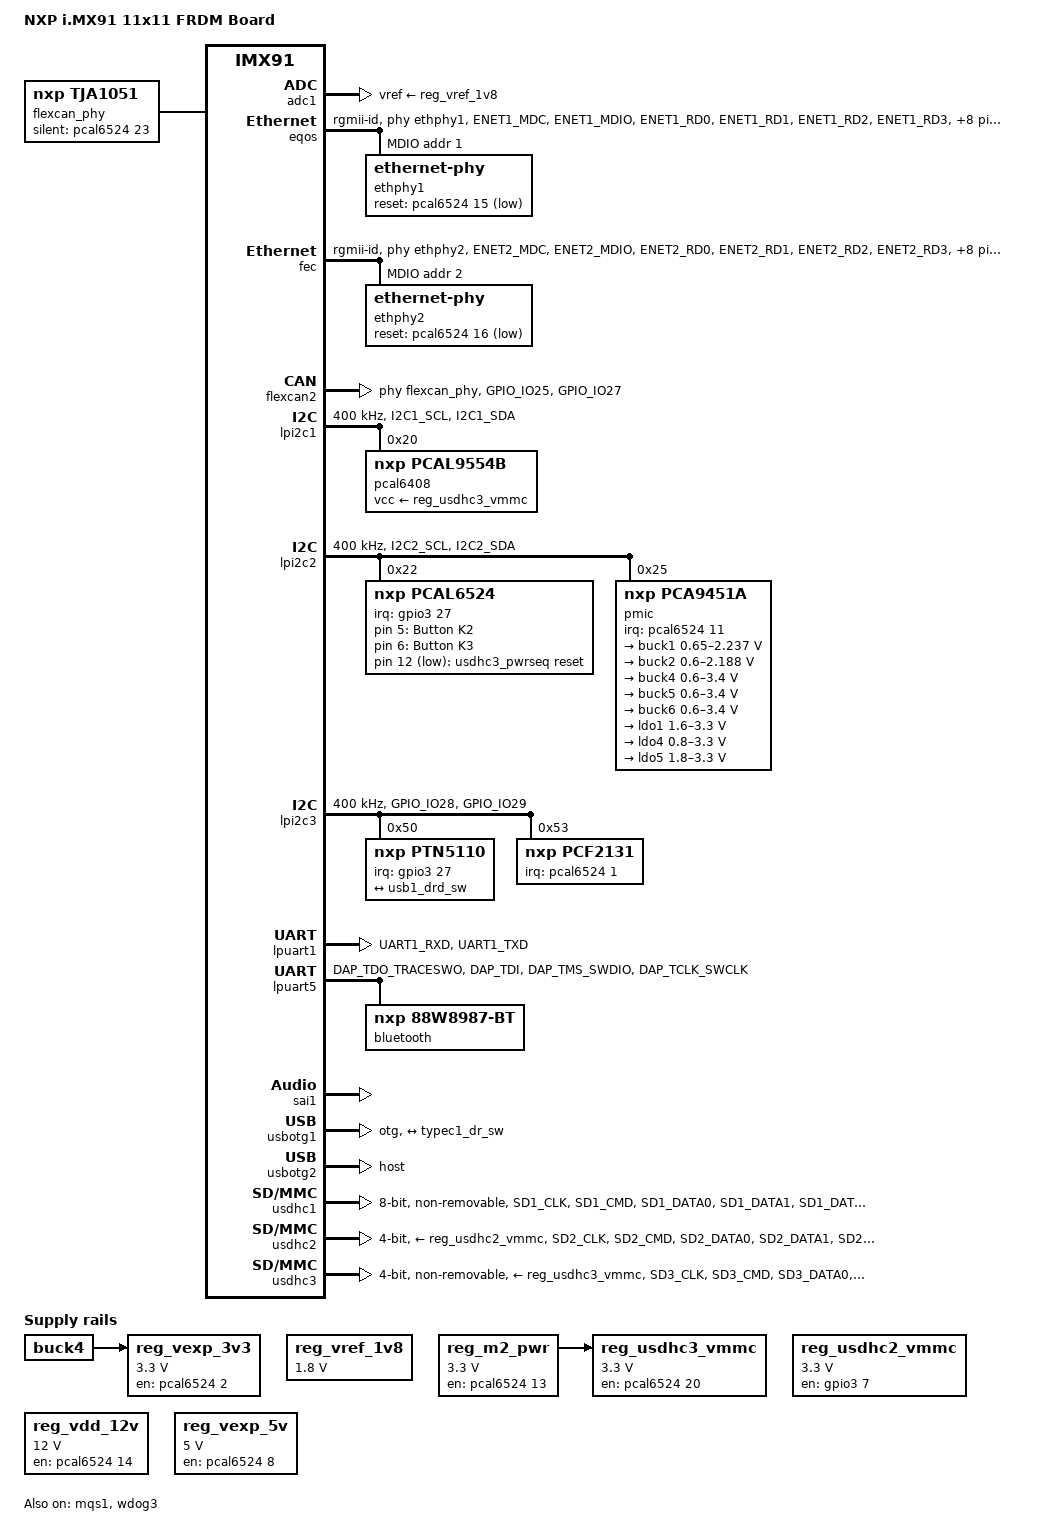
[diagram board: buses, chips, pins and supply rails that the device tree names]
// SPDX-License-Identifier: (GPL-2.0+ OR MIT)
/*
 * Copyright 2025 NXP
 */

/dts-v1/;

#include <dt-bindings/usb/pd.h>
#include "imx91.dtsi"

/ {
	compatible = "fsl,imx91-11x11-frdm", "fsl,imx91";
	model = "NXP i.MX91 11x11 FRDM Board";

	aliases {
		ethernet0 = &fec;
		ethernet1 = &eqos;
		gpio0 = &gpio1;
		gpio1 = &gpio2;
		gpio2 = &gpio3;
		gpio3 = &gpio4;
		i2c0 = &lpi2c1;
		i2c1 = &lpi2c2;
		i2c2 = &lpi2c3;
		mmc0 = &usdhc1;
		mmc1 = &usdhc2;
		mmc2 = &usdhc3;
		rtc0 = &bbnsm_rtc;
		rtc1 = &pcf2131;
		serial0 = &lpuart1;
		serial4 = &lpuart5;
	};

	chosen {
		stdout-path = &lpuart1;
	};

	flexcan_phy: can-phy {
		compatible = "nxp,tja1051";
		#phy-cells = <0>;
		max-bitrate = <5000000>;
		silent-gpios = <&pcal6524 23 GPIO_ACTIVE_HIGH>;
	};

	gpio-keys {
		compatible = "gpio-keys";

		button-k2 {
			interrupt-parent = <&pcal6524>;
			interrupts = <5 IRQ_TYPE_EDGE_FALLING>;
			label = "Button K2";
			gpios = <&pcal6524 5 GPIO_PULL_UP>;
			linux,code = <BTN_1>;
		};

		button-k3 {
			interrupt-parent = <&pcal6524>;
			interrupts = <6 IRQ_TYPE_EDGE_FALLING>;
			label = "Button K3";
			gpios = <&pcal6524 6 GPIO_PULL_UP>;
			linux,code = <BTN_2>;
		};
	};

	reg_vref_1v8: regulator-adc-vref {
		compatible = "regulator-fixed";
		regulator-max-microvolt = <1800000>;
		regulator-min-microvolt = <1800000>;
		regulator-name = "vref_1v8";
	};

	reg_m2_pwr: regulator-m2-pwr {
		compatible = "regulator-fixed";
		regulator-max-microvolt = <3300000>;
		regulator-min-microvolt = <3300000>;
		regulator-name = "M.2-power";
		gpio = <&pcal6524 13 GPIO_ACTIVE_HIGH>;
		enable-active-high;
	};

	reg_usdhc2_vmmc: regulator-usdhc2 {
		compatible = "regulator-fixed";
		off-on-delay-us = <12000>;
		pinctrl-0 = <&pinctrl_reg_usdhc2_vmmc>;
		pinctrl-names = "default";
		regulator-max-microvolt = <3300000>;
		regulator-min-microvolt = <3300000>;
		regulator-name = "VSD_3V3";
		gpio = <&gpio3 7 GPIO_ACTIVE_HIGH>;
		enable-active-high;
		bootph-pre-ram;
		bootph-some-ram;
	};

	reg_usdhc3_vmmc: regulator-usdhc3 {
		compatible = "regulator-fixed";
		regulator-max-microvolt = <3300000>;
		regulator-min-microvolt = <3300000>;
		regulator-name = "WLAN_EN";
		vin-supply = <&reg_m2_pwr>;
		gpio = <&pcal6524 20 GPIO_ACTIVE_HIGH>;
		enable-active-high;
		/*
		 * This regulator defined as PDn pin of the IW610 wifi module.
		 * IW610 wifi chip needs more delay than other wifi chips to complete
		 * the host interface initialization after power up, otherwise the
		 * internal state of IW610 may be unstable, resulting in the failure of
		 * the SDIO3.0 switch voltage.
		 */
		startup-delay-us = <20000>;
	};

	reg_vdd_12v: regulator-vdd-12v {
		compatible = "regulator-fixed";
		regulator-max-microvolt = <12000000>;
		regulator-min-microvolt = <12000000>;
		regulator-name = "reg_vdd_12v";
		gpio = <&pcal6524 14 GPIO_ACTIVE_HIGH>;
		enable-active-high;
	};

	reg_vexp_3v3: regulator-vexp-3v3 {
		compatible = "regulator-fixed";
		regulator-max-microvolt = <3300000>;
		regulator-min-microvolt = <3300000>;
		regulator-name = "VEXP_3V3";
		vin-supply = <&buck4>;
		gpio = <&pcal6524 2 GPIO_ACTIVE_HIGH>;
		enable-active-high;
	};

	reg_vexp_5v: regulator-vexp-5v {
		compatible = "regulator-fixed";
		regulator-max-microvolt = <5000000>;
		regulator-min-microvolt = <5000000>;
		regulator-name = "VEXP_5V";
		gpio = <&pcal6524 8 GPIO_ACTIVE_HIGH>;
		enable-active-high;
	};

	reserved-memory {
		ranges;
		#address-cells = <2>;
		#size-cells = <2>;

		linux,cma {
			compatible = "shared-dma-pool";
			alloc-ranges = <0 0x80000000 0 0x30000000>;
			reusable;
			size = <0 0x10000000>;
			linux,cma-default;
		};
	};

	soc@0 {
		bootph-all;
		bootph-pre-ram;
	};

	sound-mqs {
		compatible = "fsl,imx6sx-sdb-mqs",
			     "fsl,imx-audio-mqs";
		audio-codec = <&mqs1>;
		audio-cpu = <&sai1>;
		model = "mqs-audio";
	};

	usdhc3_pwrseq: usdhc3-pwrseq {
		compatible = "mmc-pwrseq-simple";
		reset-gpios = <&pcal6524 12 GPIO_ACTIVE_LOW>;
	};
};

&adc1 {
	vref-supply = <&reg_vref_1v8>;
	status = "okay";
};

&aips1 {
	bootph-pre-ram;
	bootph-all;
};

&aips2 {
	bootph-pre-ram;
	bootph-some-ram;
};

&aips3 {
	bootph-pre-ram;
	bootph-some-ram;
};

&clk {
	bootph-all;
	bootph-pre-ram;
};

&clk_ext1 {
	bootph-all;
	bootph-pre-ram;
};

&eqos {
	phy-handle = <&ethphy1>;
	phy-mode = "rgmii-id";
	pinctrl-0 = <&pinctrl_eqos>;
	pinctrl-1 = <&pinctrl_eqos_sleep>;
	pinctrl-names = "default", "sleep";
	status = "okay";

	mdio {
		compatible = "snps,dwmac-mdio";
		#address-cells = <1>;
		#size-cells = <0>;
		clock-frequency = <5000000>;

		ethphy1: ethernet-phy@1 {
			reg = <1>;
			reset-gpios = <&pcal6524 15 GPIO_ACTIVE_LOW>;
			reset-assert-us = <15000>;
			reset-deassert-us = <100000>;
		};
	};
};

&fec {
	phy-handle = <&ethphy2>;
	phy-mode = "rgmii-id";
	pinctrl-0 = <&pinctrl_fec>;
	pinctrl-1 = <&pinctrl_fec_sleep>;
	pinctrl-names = "default", "sleep";
	fsl,magic-packet;
	status = "okay";

	mdio {
		#address-cells = <1>;
		#size-cells = <0>;
		clock-frequency = <5000000>;

		ethphy2: ethernet-phy@2 {
			reg = <2>;
			reset-gpios = <&pcal6524 16 GPIO_ACTIVE_LOW>;
			reset-assert-us = <15000>;
			reset-deassert-us = <100000>;
		};
	};
};

&flexcan2 {
	pinctrl-0 = <&pinctrl_flexcan2>;
	pinctrl-1 = <&pinctrl_flexcan2_sleep>;
	pinctrl-names = "default", "sleep";
	phys = <&flexcan_phy>;
	status = "okay";
};

&gpio1 {
	bootph-pre-ram;
	bootph-some-ram;
};

&gpio2 {
	bootph-pre-ram;
	bootph-some-ram;
};

&gpio3 {
	bootph-pre-ram;
	bootph-some-ram;
};

&gpio4 {
	bootph-pre-ram;
	bootph-some-ram;
};

&lpi2c1 {
	clock-frequency = <400000>;
	pinctrl-0 = <&pinctrl_lpi2c1>;
	pinctrl-names = "default";
	bootph-pre-ram;
	bootph-some-ram;
	status = "okay";

	pcal6408: gpio@20 {
		compatible = "nxp,pcal9554b";
		reg = <0x20>;
		#gpio-cells = <2>;
		gpio-controller;
		vcc-supply = <&reg_usdhc3_vmmc>;
		status = "okay";
	};
};

&lpi2c2 {
	#address-cells = <1>;
	#size-cells = <0>;
	clock-frequency = <400000>;
	pinctrl-0 = <&pinctrl_lpi2c2>;
	pinctrl-names = "default";
	bootph-pre-ram;
	bootph-some-ram;
	status = "okay";

	pcal6524: gpio@22 {
		compatible = "nxp,pcal6524";
		reg = <0x22>;
		#interrupt-cells = <2>;
		interrupt-controller;
		interrupts = <27 IRQ_TYPE_LEVEL_LOW>;
		#gpio-cells = <2>;
		gpio-controller;
		interrupt-parent = <&gpio3>;
		pinctrl-0 = <&pinctrl_pcal6524>;
		pinctrl-names = "default";
	};

	pmic@25 {
		compatible = "nxp,pca9451a";
		reg = <0x25>;
		interrupts = <11 IRQ_TYPE_EDGE_FALLING>;
		interrupt-parent = <&pcal6524>;
		bootph-pre-ram;
		bootph-some-ram;

		regulators {
			bootph-pre-ram;
			bootph-some-ram;

			buck1: BUCK1 {
				regulator-always-on;
				regulator-boot-on;
				regulator-max-microvolt = <2237500>;
				regulator-min-microvolt = <650000>;
				regulator-name = "BUCK1";
				regulator-ramp-delay = <3125>;
			};

			buck2: BUCK2 {
				regulator-always-on;
				regulator-boot-on;
				regulator-max-microvolt = <2187500>;
				regulator-min-microvolt = <600000>;
				regulator-name = "BUCK2";
				regulator-ramp-delay = <3125>;
			};

			buck4: BUCK4 {
				regulator-always-on;
				regulator-boot-on;
				regulator-max-microvolt = <3400000>;
				regulator-min-microvolt = <600000>;
				regulator-name = "BUCK4";
			};

			buck5: BUCK5 {
				regulator-always-on;
				regulator-boot-on;
				regulator-max-microvolt = <3400000>;
				regulator-min-microvolt = <600000>;
				regulator-name = "BUCK5";
			};

			buck6: BUCK6 {
				regulator-always-on;
				regulator-boot-on;
				regulator-max-microvolt = <3400000>;
				regulator-min-microvolt = <600000>;
				regulator-name = "BUCK6";
			};

			ldo1: LDO1 {
				regulator-always-on;
				regulator-boot-on;
				regulator-max-microvolt = <3300000>;
				regulator-min-microvolt = <1600000>;
				regulator-name = "LDO1";
			};

			ldo4: LDO4 {
				regulator-always-on;
				regulator-boot-on;
				regulator-max-microvolt = <3300000>;
				regulator-min-microvolt = <800000>;
				regulator-name = "LDO4";
			};

			ldo5: LDO5 {
				regulator-always-on;
				regulator-boot-on;
				regulator-max-microvolt = <3300000>;
				regulator-min-microvolt = <1800000>;
				regulator-name = "LDO5";
			};
		};
	};
};

&lpi2c3 {
	#address-cells = <1>;
	#size-cells = <0>;
	clock-frequency = <400000>;
	pinctrl-0 = <&pinctrl_lpi2c3>;
	pinctrl-names = "default";
	bootph-pre-ram;
	bootph-some-ram;
	status = "okay";

	ptn5110: tcpc@50 {
		compatible = "nxp,ptn5110", "tcpci";
		reg = <0x50>;
		interrupts = <27 IRQ_TYPE_LEVEL_LOW>;
		interrupt-parent = <&gpio3>;

		typec1_con: connector {
			compatible = "usb-c-connector";
			data-role = "dual";
			label = "USB-C";
			op-sink-microwatt = <15000000>;
			power-role = "dual";
			self-powered;
			sink-pdos = <PDO_FIXED(5000, 3000, PDO_FIXED_USB_COMM)
				     PDO_VAR(5000, 20000, 3000)>;
			source-pdos = <PDO_FIXED(5000, 3000, PDO_FIXED_USB_COMM)>;
			try-power-role = "sink";

			ports {
				#address-cells = <1>;
				#size-cells = <0>;

				port@0 {
					reg = <0>;

					typec1_dr_sw: endpoint {
						remote-endpoint = <&usb1_drd_sw>;
					};
				};
			};
		};
	};

	pcf2131: rtc@53 {
		compatible = "nxp,pcf2131";
		reg = <0x53>;
		interrupts = <1 IRQ_TYPE_EDGE_FALLING>;
		interrupt-parent = <&pcal6524>;
		status = "okay";
	};
};

&lpuart1 {
	pinctrl-0 = <&pinctrl_uart1>;
	pinctrl-names = "default";
	bootph-pre-ram;
	bootph-some-ram;
	status = "okay";
};

&lpuart5 {
	pinctrl-0 = <&pinctrl_uart5>;
	pinctrl-names = "default";
	status = "okay";

	bluetooth {
		compatible = "nxp,88w8987-bt";
	};
};

&mqs1 {
	clocks = <&clk IMX93_CLK_MQS1_GATE>;
	clock-names = "mclk";
	pinctrl-0 = <&pinctrl_mqs1>;
	pinctrl-names = "default";
	status = "okay";
};

&osc_32k {
	bootph-all;
	bootph-pre-ram;
};

&osc_24m {
	bootph-all;
	bootph-pre-ram;
};

&sai1 {
	clocks = <&clk IMX93_CLK_SAI1_IPG>, <&clk IMX93_CLK_DUMMY>,
		 <&clk IMX93_CLK_SAI1_GATE>, <&clk IMX93_CLK_DUMMY>,
		 <&clk IMX93_CLK_DUMMY>, <&clk IMX93_CLK_AUDIO_PLL>;
	clock-names = "bus", "mclk0", "mclk1", "mclk2", "mclk3", "pll8k";
	assigned-clocks = <&clk IMX93_CLK_SAI1>;
	assigned-clock-parents = <&clk IMX93_CLK_AUDIO_PLL>;
	assigned-clock-rates = <24576000>;
	#sound-dai-cells = <0>;
	fsl,sai-mclk-direction-output;
	status = "okay";
};

&usbotg1 {
	adp-disable;
	disable-over-current;
	dr_mode = "otg";
	hnp-disable;
	srp-disable;
	usb-role-switch;
	samsung,picophy-dc-vol-level-adjust = <7>;
	samsung,picophy-pre-emp-curr-control = <3>;
	status = "okay";

	port {
		usb1_drd_sw: endpoint {
			remote-endpoint = <&typec1_dr_sw>;
		};
	};
};

&usbotg2 {
	disable-over-current;
	dr_mode = "host";
	samsung,picophy-dc-vol-level-adjust = <7>;
	samsung,picophy-pre-emp-curr-control = <3>;
	status = "okay";
};

&usdhc1 {
	bus-width = <8>;
	non-removable;
	pinctrl-0 = <&pinctrl_usdhc1>;
	pinctrl-1 = <&pinctrl_usdhc1_100mhz>;
	pinctrl-2 = <&pinctrl_usdhc1_200mhz>;
	pinctrl-names = "default", "state_100mhz", "state_200mhz";
	bootph-pre-ram;
	bootph-some-ram;
	status = "okay";
};

&usdhc2 {
	bus-width = <4>;
	cd-gpios = <&gpio3 00 GPIO_ACTIVE_LOW>;
	no-mmc;
	no-sdio;
	pinctrl-0 = <&pinctrl_usdhc2>, <&pinctrl_usdhc2_gpio>;
	pinctrl-1 = <&pinctrl_usdhc2_100mhz>, <&pinctrl_usdhc2_gpio>;
	pinctrl-2 = <&pinctrl_usdhc2_200mhz>, <&pinctrl_usdhc2_gpio>;
	pinctrl-3 = <&pinctrl_usdhc2_sleep>, <&pinctrl_usdhc2_gpio_sleep>;
	pinctrl-names = "default", "state_100mhz", "state_200mhz", "sleep";
	vmmc-supply = <&reg_usdhc2_vmmc>;
	bootph-pre-ram;
	bootph-some-ram;
	status = "okay";
};

&usdhc3 {
	bus-width = <4>;
	keep-power-in-suspend;
	mmc-pwrseq = <&usdhc3_pwrseq>;
	non-removable;
	pinctrl-0 = <&pinctrl_usdhc3>, <&pinctrl_usdhc3_wlan>;
	pinctrl-1 = <&pinctrl_usdhc3_100mhz>, <&pinctrl_usdhc3_wlan>;
	pinctrl-2 = <&pinctrl_usdhc3_200mhz>, <&pinctrl_usdhc3_wlan>;
	pinctrl-3 = <&pinctrl_usdhc3_sleep>, <&pinctrl_usdhc3_wlan>;
	pinctrl-names = "default", "state_100mhz", "state_200mhz", "sleep";
	vmmc-supply = <&reg_usdhc3_vmmc>;
	wakeup-source;
	status = "okay";
};

&wdog3 {
	fsl,ext-reset-output;
	status = "okay";
};

&iomuxc {
	bootph-pre-ram;
	bootph-some-ram;

	pinctrl_eqos: eqosgrp {
		fsl,pins = <
			MX91_PAD_ENET1_MDC__ENET1_MDC				0x57e
			MX91_PAD_ENET1_MDIO__ENET_QOS_MDIO			0x57e
			MX91_PAD_ENET1_RD0__ENET_QOS_RGMII_RD0			0x57e
			MX91_PAD_ENET1_RD1__ENET_QOS_RGMII_RD1			0x57e
			MX91_PAD_ENET1_RD2__ENET_QOS_RGMII_RD2			0x57e
			MX91_PAD_ENET1_RD3__ENET_QOS_RGMII_RD3			0x57e
			MX91_PAD_ENET1_RXC__ENET_QOS_RGMII_RXC			0x5fe
			MX91_PAD_ENET1_RX_CTL__ENET_QOS_RGMII_RX_CTL		0x57e
			MX91_PAD_ENET1_TD0__ENET_QOS_RGMII_TD0			0x57e
			MX91_PAD_ENET1_TD1__ENET1_RGMII_TD1			0x57e
			MX91_PAD_ENET1_TD2__ENET_QOS_RGMII_TD2			0x57e
			MX91_PAD_ENET1_TD3__ENET_QOS_RGMII_TD3			0x57e
			MX91_PAD_ENET1_TXC__CCM_ENET_QOS_CLOCK_GENERATE_TX_CLK	0x5fe
			MX91_PAD_ENET1_TX_CTL__ENET_QOS_RGMII_TX_CTL		0x57e
		>;
	};

	pinctrl_eqos_sleep: eqossleepgrp {
		fsl,pins = <
			MX91_PAD_ENET1_MDC__GPIO4_IO0				0x31e
			MX91_PAD_ENET1_MDIO__GPIO4_IO1				0x31e
			MX91_PAD_ENET1_RD0__GPIO4_IO10				0x31e
			MX91_PAD_ENET1_RD1__GPIO4_IO11				0x31e
			MX91_PAD_ENET1_RD2__GPIO4_IO12				0x31e
			MX91_PAD_ENET1_RD3__GPIO4_IO13				0x31e
			MX91_PAD_ENET1_RXC__GPIO4_IO9				0x31e
			MX91_PAD_ENET1_RX_CTL__GPIO4_IO8			0x31e
			MX91_PAD_ENET1_TD0__GPIO4_IO5				0x31e
			MX91_PAD_ENET1_TD1__GPIO4_IO4				0x31e
			MX91_PAD_ENET1_TD2__GPIO4_IO3				0x31e
			MX91_PAD_ENET1_TD3__GPIO4_IO2				0x31e
			MX91_PAD_ENET1_TXC__GPIO4_IO7				0x31e
			MX91_PAD_ENET1_TX_CTL__GPIO4_IO6			0x31e
		>;
	};

	pinctrl_fec: fecgrp {
		fsl,pins = <
			MX91_PAD_ENET2_MDC__ENET2_MDC				0x57e
			MX91_PAD_ENET2_MDIO__ENET2_MDIO				0x57e
			MX91_PAD_ENET2_RD0__ENET2_RGMII_RD0			0x57e
			MX91_PAD_ENET2_RD1__ENET2_RGMII_RD1			0x57e
			MX91_PAD_ENET2_RD2__ENET2_RGMII_RD2			0x57e
			MX91_PAD_ENET2_RD3__ENET2_RGMII_RD3			0x57e
			MX91_PAD_ENET2_RXC__ENET2_RGMII_RXC			0x5fe
			MX91_PAD_ENET2_RX_CTL__ENET2_RGMII_RX_CTL		0x57e
			MX91_PAD_ENET2_TD0__ENET2_RGMII_TD0			0x57e
			MX91_PAD_ENET2_TD1__ENET2_RGMII_TD1			0x57e
			MX91_PAD_ENET2_TD2__ENET2_RGMII_TD2			0x57e
			MX91_PAD_ENET2_TD3__ENET2_RGMII_TD3			0x57e
			MX91_PAD_ENET2_TXC__ENET2_RGMII_TXC			0x5fe
			MX91_PAD_ENET2_TX_CTL__ENET2_RGMII_TX_CTL		0x57e
		>;
	};

	pinctrl_fec_sleep: fecsleepgrp {
		fsl,pins = <
			MX91_PAD_ENET2_MDC__GPIO4_IO14				0x51e
			MX91_PAD_ENET2_MDIO__GPIO4_IO15				0x51e
			MX91_PAD_ENET2_RD0__GPIO4_IO24				0x51e
			MX91_PAD_ENET2_RD1__GPIO4_IO25				0x51e
			MX91_PAD_ENET2_RD2__GPIO4_IO26				0x51e
			MX91_PAD_ENET2_RD3__GPIO4_IO27				0x51e
			MX91_PAD_ENET2_RXC__GPIO4_IO23				0x51e
			MX91_PAD_ENET2_RX_CTL__GPIO4_IO22			0x51e
			MX91_PAD_ENET2_TD0__GPIO4_IO19				0x51e
			MX91_PAD_ENET2_TD1__GPIO4_IO18				0x51e
			MX91_PAD_ENET2_TD2__GPIO4_IO17				0x51e
			MX91_PAD_ENET2_TD3__GPIO4_IO16				0x51e
			MX91_PAD_ENET2_TXC__GPIO4_IO21				0x51e
			MX91_PAD_ENET2_TX_CTL__GPIO4_IO20			0x51e
		>;
	};

	pinctrl_flexcan2: flexcan2grp {
		fsl,pins = <
			MX91_PAD_GPIO_IO25__CAN2_TX				0x139e
			MX91_PAD_GPIO_IO27__CAN2_RX				0x139e
		>;
	};

	pinctrl_flexcan2_sleep: flexcan2sleepgrp {
		fsl,pins = <
			MX91_PAD_GPIO_IO25__GPIO2_IO25				0x31e
			MX91_PAD_GPIO_IO27__GPIO2_IO27				0x31e
		>;
	};

	pinctrl_lpi2c1: lpi2c1grp {
		fsl,pins = <
			MX91_PAD_I2C1_SCL__LPI2C1_SCL				0x40000b9e
			MX91_PAD_I2C1_SDA__LPI2C1_SDA				0x40000b9e
		>;
		bootph-pre-ram;
		bootph-some-ram;
	};

	pinctrl_lpi2c2: lpi2c2grp {
		fsl,pins = <
			MX91_PAD_I2C2_SCL__LPI2C2_SCL				0x40000b9e
			MX91_PAD_I2C2_SDA__LPI2C2_SDA				0x40000b9e
		>;
		bootph-pre-ram;
		bootph-some-ram;
	};

	pinctrl_lpi2c3: lpi2c3grp {
		fsl,pins = <
			MX91_PAD_GPIO_IO28__LPI2C3_SDA				0x40000b9e
			MX91_PAD_GPIO_IO29__LPI2C3_SCL				0x40000b9e
		>;
		bootph-pre-ram;
		bootph-some-ram;
	};

	pinctrl_lpspi3: lpspi3grp {
		fsl,pins = <
			MX91_PAD_GPIO_IO08__GPIO2_IO8				0x3fe
			MX91_PAD_GPIO_IO09__LPSPI3_SIN				0x3fe
			MX91_PAD_GPIO_IO10__LPSPI3_SOUT				0x3fe
			MX91_PAD_GPIO_IO11__LPSPI3_SCK				0x3fe
		>;
	};

	pinctrl_mqs1: mqs1grp {
		fsl,pins = <
			MX91_PAD_PDM_CLK__MQS1_LEFT				0x31e
			MX91_PAD_PDM_BIT_STREAM0__MQS1_RIGHT			0x31e
		>;
	};

	pinctrl_pcal6524: pcal6524grp {
		fsl,pins = <
			MX91_PAD_CCM_CLKO2__GPIO3_IO27				0x31e
		>;
	};

	pinctrl_reg_usdhc2_vmmc: regusdhc2vmmcgrp {
		fsl,pins = <
			MX91_PAD_SD2_RESET_B__GPIO3_IO7				0x31e
		>;
		bootph-pre-ram;
	};

	pinctrl_uart1: uart1grp {
		fsl,pins = <
			MX91_PAD_UART1_RXD__LPUART1_RX				0x31e
			MX91_PAD_UART1_TXD__LPUART1_TX				0x31e
		>;
		bootph-pre-ram;
		bootph-some-ram;
	};

	pinctrl_uart5: uart5grp {
		fsl,pins = <
			MX91_PAD_DAP_TDO_TRACESWO__LPUART5_TX			0x31e
			MX91_PAD_DAP_TDI__LPUART5_RX				0x31e
			MX91_PAD_DAP_TMS_SWDIO__LPUART5_RTS_B			0x31e
			MX91_PAD_DAP_TCLK_SWCLK__LPUART5_CTS_B			0x31e
		>;
	};

	pinctrl_usdhc1: usdhc1grp {
		fsl,pins = <
			MX91_PAD_SD1_CLK__USDHC1_CLK				0x1582
			MX91_PAD_SD1_CMD__USDHC1_CMD				0x1382
			MX91_PAD_SD1_DATA0__USDHC1_DATA0			0x1382
			MX91_PAD_SD1_DATA1__USDHC1_DATA1			0x1382
			MX91_PAD_SD1_DATA2__USDHC1_DATA2			0x1382
			MX91_PAD_SD1_DATA3__USDHC1_DATA3			0x1382
			MX91_PAD_SD1_DATA4__USDHC1_DATA4			0x1382
			MX91_PAD_SD1_DATA5__USDHC1_DATA5			0x1382
			MX91_PAD_SD1_DATA6__USDHC1_DATA6			0x1382
			MX91_PAD_SD1_DATA7__USDHC1_DATA7			0x1382
			MX91_PAD_SD1_STROBE__USDHC1_STROBE			0x1582
		>;
		bootph-pre-ram;
		bootph-some-ram;
	};

	pinctrl_usdhc1_100mhz: usdhc1-100mhzgrp {
		fsl,pins = <
			MX91_PAD_SD1_CLK__USDHC1_CLK				0x158e
			MX91_PAD_SD1_CMD__USDHC1_CMD				0x138e
			MX91_PAD_SD1_DATA0__USDHC1_DATA0			0x138e
			MX91_PAD_SD1_DATA1__USDHC1_DATA1			0x138e
			MX91_PAD_SD1_DATA2__USDHC1_DATA2			0x138e
			MX91_PAD_SD1_DATA3__USDHC1_DATA3			0x138e
			MX91_PAD_SD1_DATA4__USDHC1_DATA4			0x138e
			MX91_PAD_SD1_DATA5__USDHC1_DATA5			0x138e
			MX91_PAD_SD1_DATA6__USDHC1_DATA6			0x138e
			MX91_PAD_SD1_DATA7__USDHC1_DATA7			0x138e
			MX91_PAD_SD1_STROBE__USDHC1_STROBE			0x158e
		>;
	};

	pinctrl_usdhc1_200mhz: usdhc1-200mhzgrp {
		fsl,pins = <
			MX91_PAD_SD1_CLK__USDHC1_CLK				0x15fe
			MX91_PAD_SD1_CMD__USDHC1_CMD				0x13fe
			MX91_PAD_SD1_DATA0__USDHC1_DATA0			0x13fe
			MX91_PAD_SD1_DATA1__USDHC1_DATA1			0x13fe
			MX91_PAD_SD1_DATA2__USDHC1_DATA2			0x13fe
			MX91_PAD_SD1_DATA3__USDHC1_DATA3			0x13fe
			MX91_PAD_SD1_DATA4__USDHC1_DATA4			0x13fe
			MX91_PAD_SD1_DATA5__USDHC1_DATA5			0x13fe
			MX91_PAD_SD1_DATA6__USDHC1_DATA6			0x13fe
			MX91_PAD_SD1_DATA7__USDHC1_DATA7			0x13fe
			MX91_PAD_SD1_STROBE__USDHC1_STROBE			0x15fe
		>;
	};

	pinctrl_usdhc2_gpio: usdhc2gpiogrp {
		fsl,pins = <
			MX91_PAD_SD2_CD_B__GPIO3_IO0				0x31e
		>;
		bootph-pre-ram;
		bootph-some-ram;
	};

	pinctrl_usdhc2_gpio_sleep: usdhc2gpiosleepgrp {
		fsl,pins = <
			MX91_PAD_SD2_CD_B__GPIO3_IO0				0x51e
		>;
	};

	pinctrl_usdhc2: usdhc2grp {
		fsl,pins = <
			MX91_PAD_SD2_CLK__USDHC2_CLK				0x1582
			MX91_PAD_SD2_CMD__USDHC2_CMD				0x1382
			MX91_PAD_SD2_DATA0__USDHC2_DATA0			0x1382
			MX91_PAD_SD2_DATA1__USDHC2_DATA1			0x1382
			MX91_PAD_SD2_DATA2__USDHC2_DATA2			0x1382
			MX91_PAD_SD2_DATA3__USDHC2_DATA3			0x1382
			MX91_PAD_SD2_VSELECT__USDHC2_VSELECT			0x51e
		>;
		bootph-pre-ram;
		bootph-some-ram;
	};

	pinctrl_usdhc2_sleep: usdhc2sleepgrp {
		fsl,pins = <
			MX91_PAD_SD2_CLK__GPIO3_IO1				0x51e
			MX91_PAD_SD2_CMD__GPIO3_IO2				0x51e
			MX91_PAD_SD2_DATA0__GPIO3_IO3				0x51e
			MX91_PAD_SD2_DATA1__GPIO3_IO4				0x51e
			MX91_PAD_SD2_DATA2__GPIO3_IO5				0x51e
			MX91_PAD_SD2_DATA3__GPIO3_IO6				0x51e
			MX91_PAD_SD2_VSELECT__GPIO3_IO19			0x51e
		>;
	};

	pinctrl_usdhc2_100mhz: usdhc2-100mhzgrp {
		fsl,pins = <
			MX91_PAD_SD2_CLK__USDHC2_CLK				0x158e
			MX91_PAD_SD2_CMD__USDHC2_CMD				0x138e
			MX91_PAD_SD2_DATA0__USDHC2_DATA0			0x138e
			MX91_PAD_SD2_DATA1__USDHC2_DATA1			0x138e
			MX91_PAD_SD2_DATA2__USDHC2_DATA2			0x138e
			MX91_PAD_SD2_DATA3__USDHC2_DATA3			0x138e
			MX91_PAD_SD2_VSELECT__USDHC2_VSELECT			0x51e
		>;
	};

	pinctrl_usdhc2_200mhz: usdhc2-200mhzgrp {
		fsl,pins = <
			MX91_PAD_SD2_CLK__USDHC2_CLK				0x15fe
			MX91_PAD_SD2_CMD__USDHC2_CMD				0x13fe
			MX91_PAD_SD2_DATA0__USDHC2_DATA0			0x13fe
			MX91_PAD_SD2_DATA1__USDHC2_DATA1			0x13fe
			MX91_PAD_SD2_DATA2__USDHC2_DATA2			0x13fe
			MX91_PAD_SD2_DATA3__USDHC2_DATA3			0x13fe
			MX91_PAD_SD2_VSELECT__USDHC2_VSELECT			0x51e
		>;
	};

	pinctrl_usdhc3: usdhc3grp {
		fsl,pins = <
			MX91_PAD_SD3_CLK__USDHC3_CLK				0x1582
			MX91_PAD_SD3_CMD__USDHC3_CMD				0x1382
			MX91_PAD_SD3_DATA0__USDHC3_DATA0			0x1382
			MX91_PAD_SD3_DATA1__USDHC3_DATA1			0x1382
			MX91_PAD_SD3_DATA2__USDHC3_DATA2			0x1382
			MX91_PAD_SD3_DATA3__USDHC3_DATA3			0x1382
		>;
	};

	pinctrl_usdhc3_sleep: usdhc3sleepgrp {
		fsl,pins = <
			MX91_PAD_SD3_CLK__GPIO3_IO20				0x31e
			MX91_PAD_SD3_CMD__GPIO3_IO21				0x31e
			MX91_PAD_SD3_DATA0__GPIO3_IO22				0x31e
			MX91_PAD_SD3_DATA1__GPIO3_IO23				0x31e
			MX91_PAD_SD3_DATA2__GPIO3_IO24				0x31e
			MX91_PAD_SD3_DATA3__GPIO3_IO25				0x31e
		>;
	};

	pinctrl_usdhc3_wlan: usdhc3wlangrp {
		fsl,pins = <
			MX91_PAD_CCM_CLKO1__GPIO3_IO26				0x31e
		>;
	};

	pinctrl_usdhc3_100mhz: usdhc3-100mhzgrp {
		fsl,pins = <
			MX91_PAD_SD3_CLK__USDHC3_CLK				0x158e
			MX91_PAD_SD3_CMD__USDHC3_CMD				0x138e
			MX91_PAD_SD3_DATA0__USDHC3_DATA0			0x138e
			MX91_PAD_SD3_DATA1__USDHC3_DATA1			0x138e
			MX91_PAD_SD3_DATA2__USDHC3_DATA2			0x138e
			MX91_PAD_SD3_DATA3__USDHC3_DATA3			0x138e
		>;
	};

	pinctrl_usdhc3_200mhz: usdhc3-200mhzgrp {
		fsl,pins = <
			MX91_PAD_SD3_CLK__USDHC3_CLK				0x15fe
			MX91_PAD_SD3_CMD__USDHC3_CMD				0x13fe
			MX91_PAD_SD3_DATA0__USDHC3_DATA0			0x13fe
			MX91_PAD_SD3_DATA1__USDHC3_DATA1			0x13fe
			MX91_PAD_SD3_DATA2__USDHC3_DATA2			0x13fe
			MX91_PAD_SD3_DATA3__USDHC3_DATA3			0x13fe
		>;
	};
};
